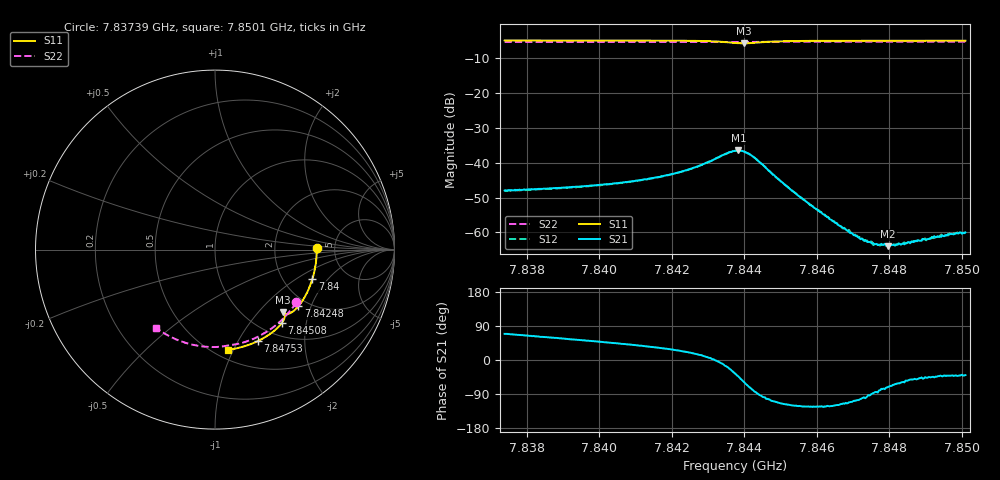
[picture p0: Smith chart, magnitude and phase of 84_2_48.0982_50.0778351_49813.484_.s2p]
#  HZ  S  RI  R  50.00
! Rohde & Schwarz Vector Network Analyzer
! Rohde-Schwarz,ZNB20-2Port,1311601062101988,3.16
! Created: UTC 12/23/2023, 3:43:05 AM
! freq[Hz]  re:S11  im:S11  re:S21  im:S21  re:S12  im:S12  re:S22  im:S22
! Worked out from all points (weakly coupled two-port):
!   401 points, 7.83739 GHz to 7.8501 GHz, reference 50 ohm
!   highest |S21| = -36.42 dB at 7.84384 GHz (marker M1); lowest = -63.9 dB at 7.84797 GHz (marker M2)
!   lowest |S11| = -5.8 dB at 7.844 GHz (marker M3), VSWR 3.13, Z = 72.6 - j68.9 ohm
!   |S11| at or under -10 dB: nowhere
!   |S22| runs from -5.4 to -5.3 dB; largest |S21 - S12| = 0.00032
!   S11 on the Smith chart (normalised r, x): 7.83739 GHz: 3.61, +0.10; 7.84 GHz: 2.89, -1.38; 7.84248 GHz: 1.77, -1.63; 7.84508 GHz: 1.25, -1.46; 7.84753 GHz: 0.81, -1.22; 7.8501 GHz: 0.59, -0.96
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7.837394e9  0.5664 0.00924  0.00143 0.00373  0.00143 0.00368  0.4528 -0.2938
7.839522e9  0.5516 -0.1316  0.00281 0.00363  0.00278 0.00355  0.3561 -0.4068
7.839998e9  0.5432 -0.1627  0.00319 0.00359  0.00317 0.00353  0.3303 -0.4281
7.840824e9  0.524 -0.2154  0.00402 0.0035  0.00397 0.00349  0.2828 -0.4611
7.84165e9  0.4985 -0.2666  0.00528 0.00333  0.00525 0.00331  0.2318 -0.4892
7.842476e9  0.4645 -0.3161  0.00753 0.00274  0.0075 0.00276  0.1781 -0.5113
7.84327e9  0.4161 -0.3553  0.0118 -0.000771  0.0118 -0.000769  0.1242 -0.526
7.843746e9  0.3827 -0.3553  0.0121 -0.00854  0.0122 -0.00838  0.0926 -0.5313
7.843842e9  0.3799 -0.3522  0.0109 -0.0104  0.0108 -0.0101  0.0864 -0.532
7.844e9  0.3801 -0.3481  0.00749 -0.0123  0.00765 -0.0124  0.0766 -0.5337
7.844255e9  0.3873 -0.3525  0.00193 -0.012  0.00203 -0.0119  0.0603 -0.5367
7.84508e9  0.3738 -0.4066  -0.00222 -0.00456  -0.00214 -0.00457  0.0026 -0.5428
7.845874e9  0.3345 -0.4486  -0.00133 -0.00199  -0.00132 -0.00199  -0.0535 -0.5409
7.846764e9  0.2845 -0.4847  -0.000491 -0.00103  -0.000495 -0.00106  -0.1154 -0.532
7.847272e9  0.2545 -0.5018  -0.000135 -0.000781  -0.00015 -0.000784  -0.15 -0.5234
7.847526e9  0.239 -0.5096  1.16e-05 -0.000692  7.73e-06 -0.000729  -0.1672 -0.5185
7.847748e9  0.2253 -0.5159  0.000119 -0.000653  0.000112 -0.000637  -0.182 -0.5135
7.847971e9  0.2116 -0.5217  0.000209 -0.0006  0.000187 -0.000609  -0.1968 -0.5083
7.848002e9  0.2096 -0.5225  0.000223 -0.000608  0.000228 -0.000625  -0.1987 -0.5075
7.848256e9  0.1938 -0.5287  0.000334 -0.000609  0.000326 -0.000597  -0.2153 -0.5008
7.849718e9  0.0998 -0.554  0.000714 -0.00062  0.000715 -0.000627  -0.3054 -0.4525
7.850099e9  0.0745 -0.5576  0.000767 -0.000644  0.000752 -0.000658  -0.3273 -0.4372
